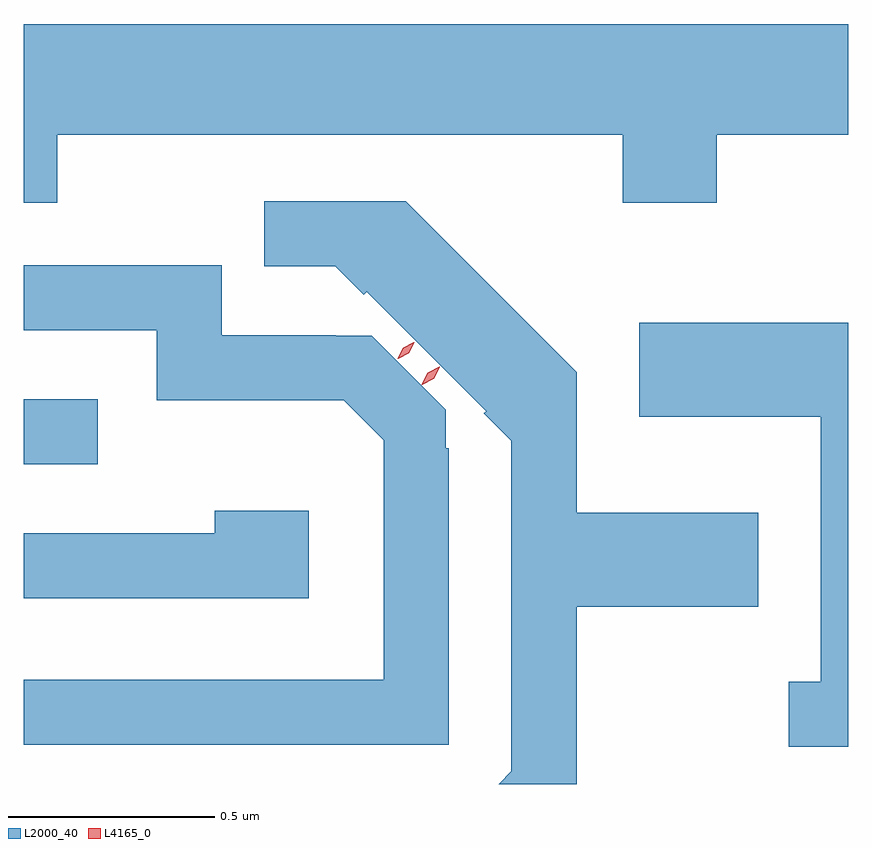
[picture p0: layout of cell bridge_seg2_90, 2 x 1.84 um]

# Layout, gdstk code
import gdstk
lib = gdstk.Library(unit=1e-6, precision=1e-09)
def R(c, l, rs):  # rectangles x0, y0, x1, y1
    for r in rs: c.add(gdstk.rectangle(r[:2], r[2:], *l))
def P(c, l, *ps):  # polygons
    for p in ps: c.add(gdstk.Polygon(p, *l))
L2000_40 = (2000, 40)
L4165_0 = (4165, 0)

bridge_seg2_90 = lib.new_cell('bridge_seg2_90')
R(bridge_seg2_90, L2000_40, [(1223.298,1027.536,1223.478,1027.694)])
P(bridge_seg2_90, L2000_40, [(1223.379,1028.336),(1224.751,1028.336),(1224.751,1028.171),(1224.979,1028.171),(1224.979,1028.336),(1225.298,1028.336),(1225.298,1028.604),(1223.298,1028.604),(1223.298,1028.171),(1223.379,1028.171)],
  [(1224.639,1027.191),(1225.079,1027.191),(1225.079,1027.419),(1224.639,1027.419),(1224.639,1027.76),(1224.225,1028.174),(1223.882,1028.174),(1223.882,1028.016),(1224.054,1028.016),(1224.123,1027.947),(1224.13,1027.955),(1224.42,1027.665),(1224.414,1027.66),(1224.481,1027.593),(1224.481,1026.792),(1224.45,1026.761),(1224.639,1026.761)],
  [(1224.329,1027.575),(1224.322,1027.575),(1224.322,1027.668),(1224.142,1027.848),(1224.055,1027.848),(1224.055,1027.849),(1223.779,1027.849),(1223.779,1028.019),(1223.298,1028.019),(1223.298,1027.861),(1223.621,1027.861),(1223.621,1027.691),(1224.074,1027.691),(1224.171,1027.594),(1224.171,1027.014),(1223.298,1027.014),(1223.298,1026.856),(1224.329,1026.856)],
  [(1225.298,1027.879),(1224.791,1027.879),(1224.791,1027.651),(1225.231,1027.651),(1225.231,1027.009),(1225.153,1027.009),(1225.153,1026.851),(1225.298,1026.851)],
  [(1223.989,1027.424),(1223.761,1027.424),(1223.761,1027.369),(1223.298,1027.369),(1223.298,1027.211),(1223.989,1027.211)])
P(bridge_seg2_90, L4165_0, [(1224.205,1027.792),(1224.205,1027.793),(1224.218,1027.819),(1224.244,1027.832),(1224.245,1027.832),(1224.245,1027.831),(1224.232,1027.805),(1224.206,1027.792)],
  [(1224.264,1027.729),(1224.264,1027.73),(1224.278,1027.758),(1224.306,1027.773),(1224.307,1027.773),(1224.307,1027.772),(1224.293,1027.744),(1224.265,1027.729)])

lib.write_gds('bridge_seg2_90.gds')
